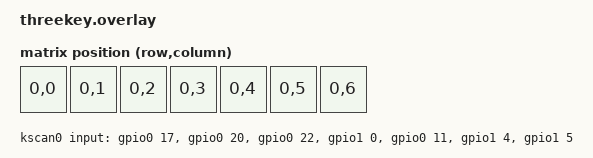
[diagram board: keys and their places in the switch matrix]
#include <physical_layouts.dtsi>
#include <dt-bindings/zmk/matrix_transform.h>
#include <dt-bindings/led/led.h>

&pinctrl {
    spi3_default: spi3_default {
        group1 {
            psels = <NRF_PSEL(SPIM_MOSI, 0, 24)>;
        };
    };

    spi3_sleep: spi3_sleep {
        group1 {
            psels = <NRF_PSEL(SPIM_MOSI, 0, 24)>;
            low-power-enable;
        };
    };
};

&spi3 {
    compatible = "nordic,nrf-spim";
    status = "okay";

    pinctrl-0 = <&spi3_default>;
    pinctrl-1 = <&spi3_sleep>;
    pinctrl-names = "default", "sleep";

    led_strip: ws2812@0 {
        compatible = "worldsemi,ws2812-spi";
        label = "WS2812";
        reg = <0>;
        spi-max-frequency = <4000000>;
        chain-length = <9>;
        spi-one-frame = <0x70>;
        spi-zero-frame = <0x40>;
        color-mapping = <LED_COLOR_ID_GREEN
                         LED_COLOR_ID_RED
                         LED_COLOR_ID_BLUE>;
    };
};

/ {
    chosen {
        zmk,kscan = &kscan0;
        zmk,physical-layout = &physical_layout0;
        zmk,underglow = &led_strip;
    };

    kscan0: kscan_0 {
        compatible = "zmk,kscan-gpio-direct";
        wakeup-source;
        input-gpios
            = <&gpio0 17 (GPIO_ACTIVE_LOW | GPIO_PULL_UP)>
            , <&gpio0 20 (GPIO_ACTIVE_LOW | GPIO_PULL_UP)>
            , <&gpio0 22 (GPIO_ACTIVE_LOW | GPIO_PULL_UP)>
            , <&gpio1 0  (GPIO_ACTIVE_LOW | GPIO_PULL_UP)>
            , <&gpio0 11 (GPIO_ACTIVE_LOW | GPIO_PULL_UP)>
            , <&gpio1 4  (GPIO_ACTIVE_LOW | GPIO_PULL_UP)>
            , <&gpio1 5  (GPIO_ACTIVE_LOW | GPIO_PULL_UP)>
            ;
    };

    transform0: transform_0 {
        compatible = "zmk,matrix-transform";
        columns = <7>;
        rows = <1>;
        map = <RC(0,0) RC(0,1) RC(0,2) RC(0,3) RC(0,4) RC(0,5) RC(0,6)>;
    };

    physical_layout0: physical_layout_0 {
        compatible = "zmk,physical-layout";
        display-name = "Default";
        transform = <&transform0>;
        kscan = <&kscan0>;
        keys
            = <&key_physical_attrs 100 100 0   0 0 0 0>
            , <&key_physical_attrs 100 100 100 0 0 0 0>
            , <&key_physical_attrs 100 100 200 0 0 0 0>
            , <&key_physical_attrs 100 100 300 0 0 0 0>
            , <&key_physical_attrs 100 100 400 0 0 0 0>
            , <&key_physical_attrs 100 100 500 0 0 0 0>
            , <&key_physical_attrs 100 100 600 0 0 0 0>
            ;
    };
};
